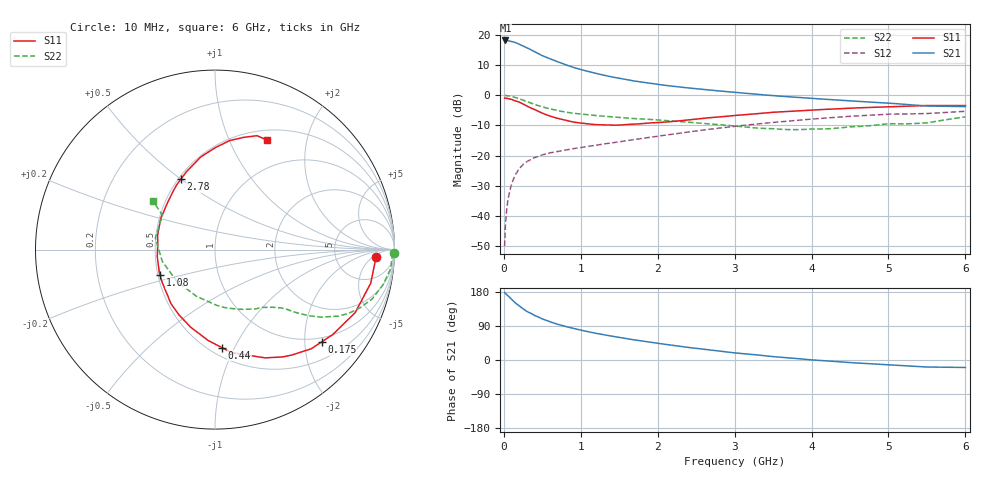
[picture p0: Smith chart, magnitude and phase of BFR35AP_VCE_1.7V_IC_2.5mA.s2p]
! Infineon Technologies  Discrete & RF Semiconductors
! BFR35AP
! VCE =  1.7 V,  IC =  2.5 mA
! Common Emitter S-Parameters:  Nov 2015
# GHz  S  MA  R  50
!  f  S11  S21  S12  S22
! GHz  MAG  ANG  MAG  ANG  MAG  ANG  MAG  ANG
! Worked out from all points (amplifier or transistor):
!   210 points, 10 MHz to 6 GHz, reference 50 ohm
!   highest |S21| = 18.1 dB at 20 MHz (marker M1)
!   |S21| within 3 dB of that: start of sweep to 345.1 MHz
!   unconditionally stable (mu >= 1): 1.03 GHz to 4.475 GHz; 4.559 GHz to 4.935 GHz; 5.022 GHz to end of sweep
!   at 185 MHz: K = 0.25, MSG = 21.0 dB, |S12| = -24.9 dB
!   at 1.52 GHz: K = 1.16, MAG = 8.0 dB, |S12| = -15.3 dB
!   at 6 GHz: K = 1.02, MAG = 0.0 dB, |S12| = -5.3 dB
!   S11 on the Smith chart (normalised r, x): 10 MHz: 16, -7; 175 MHz: 0.89, -2.40; 440 MHz: 0.57, -0.89; 1.08 GHz: 0.51, -0.17; 2.78 GHz: 0.52, +0.50; 6 GHz: 0.62, +1.39
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0.01  0.8996 -2.5  7.962 178.3  0.0032 88.4  0.9953 -1.2
0.02  0.8938 -4.8  8.047 175.9  0.0069 85.4  0.9875 -2.4
0.05  0.8876 -12.2  8.001 170.1  0.0173 82.1  0.985 -6.2
0.1  0.8565 -24.2  7.738 160.6  0.0336 77.1  0.9566 -11.8
0.15  0.8087 -35.9  7.457 150.5  0.0485 69.8  0.9188 -17.3
0.175  0.7862 -40.8  7.2 146.7  0.0546 67.1  0.8964 -19.3
0.24  0.7265 -54.0  6.602 136.6  0.0695 61.0  0.8383 -24.4
0.3  0.6644 -65.2  6.105 128.1  0.0802 57.1  0.7833 -28.2
0.4  0.5808 -81.0  5.252 117.6  0.0931 51.8  0.7023 -32.4
0.44  0.5479 -85.9  4.94 114.3  0.0972 50.2  0.6781 -33.4
0.54  0.4827 -99.2  4.296 105.5  0.1067 47.3  0.6232 -35.8
0.7  0.4147 -119.1  3.577 94.2  0.1178 45.3  0.5572 -38.4
0.8  0.388 -129.3  3.204 88.5  0.1242 44.5  0.5268 -39.4
1.02  0.3444 -149.4  2.62 78.0  0.138 44.6  0.486 -41.8
1.08  0.3379 -155.0  2.504 75.4  0.142 44.6  0.4774 -42.7
1.6  0.3297 166.0  1.805 56.0  0.1776 45.7  0.4197 -50.1
2.02  0.3544 144.2  1.501 43.5  0.2124 45.6  0.389 -58.4
2.78  0.4355 115.8  1.185 24.1  0.2843 41.8  0.3286 -79.9
3.1  0.4729 107.6  1.088 17.0  0.3162 38.8  0.3006 -92.6
4.1  0.5772 88.1  0.871 -1.0  0.4122 27.5  0.2763 -145.8
5.1  0.6506 74.6  0.726 -14.0  0.4877 13.4  0.3369 164.5
6  0.6763 64.6  0.649 -19.7  0.5422 3.1  0.4395 141.9
